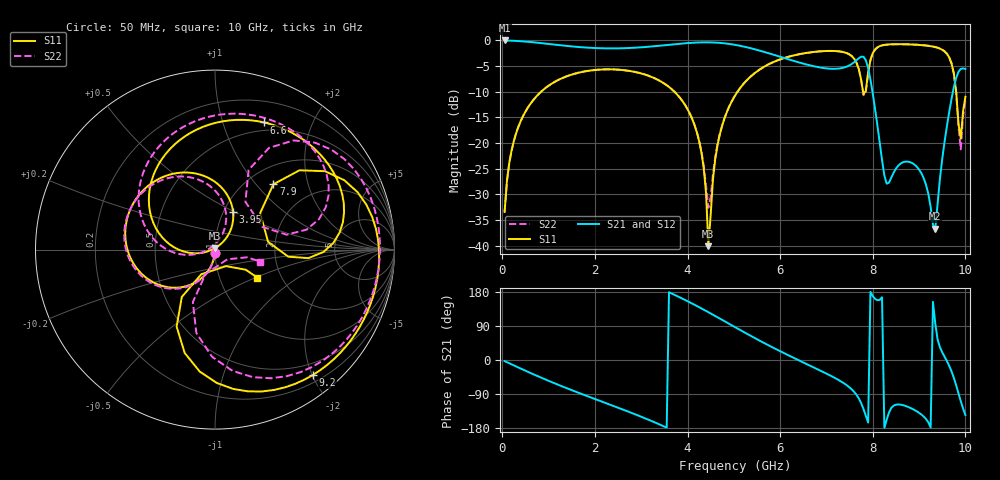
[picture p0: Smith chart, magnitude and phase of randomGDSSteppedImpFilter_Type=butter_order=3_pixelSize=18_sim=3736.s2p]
! freq	dB(S11)	phase(S11)	dB(S12)	phase(S12)
!  dB(S21)	phase(S21)	dB(S22)	phase(S22)
!S-par simulation data
#  GHz  S  DB  R 50
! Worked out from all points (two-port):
!   200 points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, 50 MHz to 10 GHz, reference 50 ohm
!   highest |S21| = 0.00 dB at 50 MHz (marker M1); lowest = -36.7 dB at 9.35 GHz (marker M2)
!   |S21| within 3 dB of the highest: start of sweep to 5.935 GHz
!   lowest |S11| = -40.1 dB at 4.45 GHz (marker M3), VSWR 1.02, Z = 50.2 + j0.977 ohm
!   |S11| at or under -10 dB: start of sweep to 837.2 MHz; 3.718 GHz to 5.079 GHz (1.362 GHz wide, 31 % of centre); 9.801 GHz to end of sweep (the widest 3 of 4)
!   |S22| runs from -33.4 to -0.7 dB; largest |S21 - S12| = 0
!   S11 on the Smith chart (normalised r, x): 50 MHz: 1.00, -0.04; 3.95 GHz: 1.11, +0.49; 6.6 GHz: 0.41, +1.38; 7.9 GHz: 1.30, +1.24; 9.2 GHz: 0.31, -2.01; 10 GHz: 1.51, -0.51
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0.05  -33.41 -92.9  -0.00 -2.9  -0.00 -2.9  -33.41 -92.9
0.2  -21.46 -102.1  -0.05 -11.5  -0.05 -11.5  -21.46 -101.7
0.5  -13.87 -119.3  -0.22 -28.3  -0.22 -28.3  -13.86 -118.4
1.75  -6.09 176.4  -1.35 -91.4  -1.35 -91.4  -6.09 179.8
3.4  -7.87 95.9  -1.03 -170.3  -1.03 -170.3  -7.87 104.1
3.95  -12.62 64.5  -0.55 158.3  -0.55 158.3  -12.61 76.1
4.3  -21.82 45.1  -0.38 136.1  -0.38 136.1  -21.58 64.8
4.45  -40.07 79.0  -0.37 126.1  -0.37 126.1  -32.58 114.5
4.65  -20.29 -167.8  -0.44 112.6  -0.44 112.6  -20.04 -166.5
5.05  -10.39 166.9  -0.90 85.0  -0.90 85.0  -10.36 175.7
5.75  -4.65 120.3  -2.49 38.7  -2.49 38.7  -4.65 133.2
6.6  -2.39 68.8  -4.76 -12.3  -4.76 -12.3  -2.39 84.7
6.7  -2.27 63.0  -4.97 -18.1  -4.97 -18.1  -2.27 79.2
7.7  -5.63 -5.2  -3.46 -101.8  -3.46 -101.8  -5.65 12.3
7.9  -6.24 48.2  -5.37 -165.2  -5.37 -165.2  -6.34 67.1
8.35  -0.78 -0.3  -27.70 -138.6  -27.70 -138.6  -0.78 18.2
8.8  -0.78 -27.9  -23.69 -125.8  -23.69 -125.8  -0.77 -9.8
9.2  -1.05 -52.1  -29.91 -164.6  -29.91 -164.6  -1.04 -34.7
9.35  -1.30 -63.0  -36.67 96.4  -36.67 96.4  -1.29 -46.0
9.7  -4.43 -106.3  -11.41 -29.8  -11.41 -29.8  -4.47 -91.6
9.9  -19.13 -56.3  -5.55 -108.7  -5.55 -108.7  -21.21 -38.5
10  -10.97 -33.5  -5.57 -145.3  -5.57 -145.3  -11.68 -14.8
